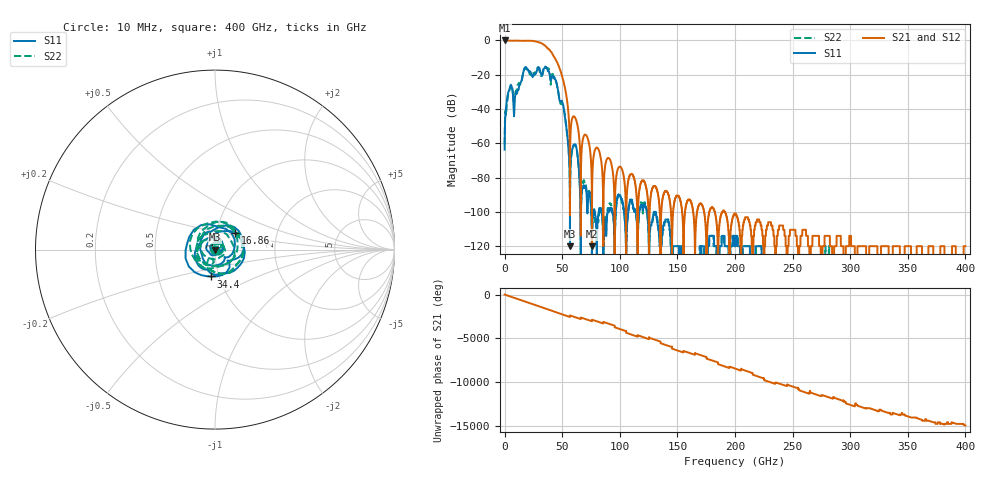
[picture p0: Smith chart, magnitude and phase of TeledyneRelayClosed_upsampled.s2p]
# MHz MA S R 50.0
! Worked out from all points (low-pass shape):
!   40000 points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, 10 MHz to 400 GHz, reference 50 ohm
!   highest |S21| = -0.01 dB at 10 MHz (marker M1); lowest = -120.0 dB at 75.84 GHz (marker M2)
!   |S21| within 3 dB of the highest: start of sweep to 35.12 GHz
!   lowest |S11| = -120.0 dB at 56.74 GHz (marker M3), VSWR 1.00, Z = 50 + j9.61e-05 ohm
!   |S11| at or under -10 dB: start of sweep to end of sweep
!   |S22| runs from - to -15.8 dB; largest |S21 - S12| = 0.022
!   S11 on the Smith chart (normalised r, x): 10 MHz: 1.00, +0.00; 16.86 GHz: 1.23, +0.24; 34.4 GHz: 0.91, -0.28; 400 GHz: 1.00, +0.00
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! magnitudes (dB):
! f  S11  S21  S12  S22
! 10 MHz  -63.7  0.0  0.0  -60.7
! 3.93 GHz  -29.2  -0.1  -0.1  -29.7
! 9.3 GHz  -31.9  -0.1  -0.1  -30.2
! 16.86 GHz  -16.7  -0.2  -0.2  -17.6
! 34.4 GHz  -16.4  -2.7  -2.8  -16.4
! 44.83 GHz  -24.0  -11.7  -11.7  -24.6
! 51.77 GHz  -42.1  -25.7  -25.7  -41.2
! 56.74 GHz  -120.0  -101.9  -101.9  -120.0
! 61.32 GHz  -60.8  -45.2  -45.2  -60.8
! 66.68 GHz  -91.7  -66.3  -66.3  -92.0
! 70.92 GHz  -87.7  -55.3  -55.3  -86.2
! 75.84 GHz  -  -120.0  -120.0  -
! 80.26 GHz  -114.0  -62.5  -62.5  -108.0
! 85.83 GHz  -120.0  -92.0  -92.0  -120.0
! 90.17 GHz  -98.4  -68.5  -68.5  -98.4
! 95.71 GHz  -120.0  -98.4  -98.4  -120.0
! 100.1 GHz  -90.5  -73.6  -73.6  -90.5
! 133.3 GHz  -110.5  -90.5  -90.5  -108.0
! 200 GHz  -120.0  -101.9  -101.9  -120.0
! 266.7 GHz  -  -120.0  -120.0  -
! 333.3 GHz  -  -120.0  -120.0  -
! 400 GHz  -  -120.0  -120.0  -
